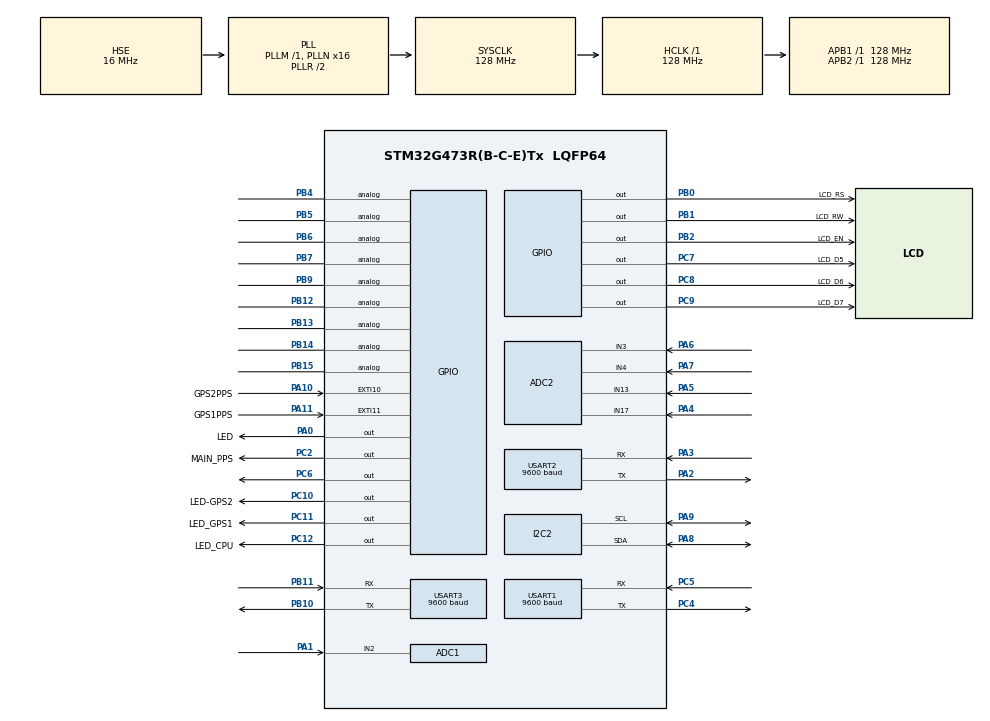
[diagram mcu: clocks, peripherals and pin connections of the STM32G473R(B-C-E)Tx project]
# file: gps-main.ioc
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ADC1.Channel-2\#ChannelRegularConversion=ADC_CHANNEL_2
ADC1.ClockPrescaler=ADC_CLOCK_ASYNC_DIV128
ADC1.ContinuousConvMode=ENABLE
ADC1.EnableRegularConversion=ENABLE
ADC1.NbrOfConversionFlag=1
ADC1.OffsetNumber-2\#ChannelRegularConversion=ADC_OFFSET_NONE
ADC1.Overrun=ADC_OVR_DATA_OVERWRITTEN
ADC1.Rank-2\#ChannelRegularConversion=1
ADC1.SamplingTime-2\#ChannelRegularConversion=ADC_SAMPLETIME_92CYCLES_5
ADC1.master=1
ADC2.Channel-1\#ChannelRegularConversion=ADC_CHANNEL_17
ADC2.Channel-2\#ChannelRegularConversion=ADC_CHANNEL_3
ADC2.Channel-3\#ChannelRegularConversion=ADC_CHANNEL_4
ADC2.Channel-4\#ChannelRegularConversion=ADC_CHANNEL_13
ADC2.ClockPrescaler=ADC_CLOCK_ASYNC_DIV128
ADC2.ContinuousConvMode=ENABLE
ADC2.EOCSelection=ADC_EOC_SEQ_CONV
ADC2.NbrOfConversion=4
ADC2.NbrOfConversionFlag=1
ADC2.OffsetNumber-1\#ChannelRegularConversion=ADC_OFFSET_NONE
ADC2.OffsetNumber-2\#ChannelRegularConversion=ADC_OFFSET_NONE
ADC2.OffsetNumber-3\#ChannelRegularConversion=ADC_OFFSET_NONE
ADC2.OffsetNumber-4\#ChannelRegularConversion=ADC_OFFSET_NONE
ADC2.Overrun=ADC_OVR_DATA_OVERWRITTEN
ADC2.Rank-1\#ChannelRegularConversion=1
ADC2.Rank-2\#ChannelRegularConversion=2
ADC2.Rank-3\#ChannelRegularConversion=3
ADC2.Rank-4\#ChannelRegularConversion=4
ADC2.SamplingTime-1\#ChannelRegularConversion=ADC_SAMPLETIME_2CYCLES_5
ADC2.SamplingTime-2\#ChannelRegularConversion=ADC_SAMPLETIME_2CYCLES_5
ADC2.SamplingTime-3\#ChannelRegularConversion=ADC_SAMPLETIME_2CYCLES_5
ADC2.SamplingTime-4\#ChannelRegularConversion=ADC_SAMPLETIME_2CYCLES_5
I2C2.Timing=0x20A0C4DF
Mcu.Family=STM32G4
Mcu.Name=STM32G473R(B-C-E)Tx
Mcu.Package=LQFP64
NVIC.ADC1_2_IRQn=true\:0\:0\:false\:false\:true\:true\:true\:true
NVIC.EXTI15_10_IRQn=true\:0\:0\:false\:false\:true\:true\:true\:true
NVIC.PriorityGroup=NVIC_PRIORITYGROUP_4
NVIC.TIM20_UP_IRQn=true\:0\:0\:false\:false\:true\:true\:true\:true
NVIC.TIM8_UP_IRQn=true\:0\:0\:false\:false\:true\:true\:true\:true
NVIC.USART1_IRQn=true\:0\:0\:false\:false\:true\:true\:true\:true
NVIC.USART2_IRQn=true\:0\:0\:false\:false\:true\:true\:true\:true
NVIC.USART3_IRQn=true\:0\:0\:false\:false\:true\:true\:true\:true
PA0.GPIO_Label=LED
PA0.Signal=GPIO_Output
PA1.Mode=IN2-Single-Ended
PA1.Signal=ADC1_IN2
PA10.GPIO_Label=GPS2PPS
PA10.Signal=GPXTI10
PA11.GPIO_Label=GPS1PPS
PA11.Signal=GPXTI11
PA13.Mode=Serial_Wire
PA13.Signal=SYS_JTMS-SWDIO
PA14.Mode=Serial_Wire
PA14.Signal=SYS_JTCK-SWCLK
PA2.GPIO_PuPd=GPIO_PULLUP
PA2.Mode=Asynchronous
PA2.Signal=USART2_TX
PA3.GPIO_PuPd=GPIO_PULLUP
PA3.Mode=Asynchronous
PA3.Signal=USART2_RX
PA4.Mode=IN17-Single-Ended
PA4.Signal=ADC2_IN17
PA5.Mode=IN13-Single-Ended
PA5.Signal=ADC2_IN13
PA6.Mode=IN3-Single-Ended
PA6.Signal=ADC2_IN3
PA7.Mode=IN4-Single-Ended
PA7.Signal=ADC2_IN4
PA8.GPIO_Pu=GPIO_PULLUP
PA8.Mode=I2C
PA8.Signal=I2C2_SDA
PA9.GPIO_Pu=GPIO_PULLUP
PA9.Mode=I2C
PA9.Signal=I2C2_SCL
PB0.GPIO_Label=LCD_RS
PB0.Signal=GPIO_Output
PB1.GPIO_Label=LCD_RW
PB1.Signal=GPIO_Output
PB10.GPIO_PuPd=GPIO_PULLUP
PB10.Mode=Asynchronous
PB10.Signal=USART3_TX
PB11.GPIO_PuPd=GPIO_PULLUP
PB11.Mode=Asynchronous
PB11.Signal=USART3_RX
PB12.Signal=GPIO_Analog
PB13.Signal=GPIO_Analog
PB14.Signal=GPIO_Analog
PB15.Signal=GPIO_Analog
PB2.GPIO_Label=LCD_EN
PB2.Signal=GPIO_Output
PB3.Signal=GPXTI3
PB4.Signal=GPIO_Analog
PB5.Signal=GPIO_Analog
PB6.Signal=GPIO_Analog
PB7.Signal=GPIO_Analog
PB9.Signal=GPIO_Analog
PC1.Signal=ADC2_IN7
PC10.GPIO_Label=LED-GPS2
PC10.Signal=GPIO_Output
PC11.GPIO_Label=LED_GPS1
PC11.Signal=GPIO_Output
PC12.GPIO_Label=LED_CPU
PC12.Signal=GPIO_Output
PC2.GPIO_Label=MAIN_PPS
PC2.Signal=GPIO_Output
PC4.GPIO_PuPd=GPIO_PULLUP
PC4.Mode=Asynchronous
PC4.Signal=USART1_TX
PC5.GPIO_PuPd=GPIO_PULLUP
PC5.Mode=Asynchronous
PC5.Signal=USART1_RX
PC6.Signal=GPIO_Output
PC7.GPIO_Label=LCD_D5
PC7.Signal=GPIO_Output
PC8.GPIO_Label=LCD_D6
PC8.Signal=GPIO_Output
PC9.GPIO_Label=LCD_D7
PC9.Signal=GPIO_Output
PF0-OSC_IN.Mode=HSE-External-Oscillator
PF0-OSC_IN.Signal=RCC_OSC_IN
PF1-OSC_OUT.Mode=HSE-External-Oscillator
PF1-OSC_OUT.Signal=RCC_OSC_OUT
ProjectManager.HeapSize=0x200
ProjectManager.StackSize=0x400
ProjectManager.TargetToolchain=MDK-ARM V5
RCC.ADC12Freq_Value=128000000
RCC.ADC345Freq_Value=128000000
RCC.AHBFreq_Value=128000000
RCC.APB1Freq_Value=128000000
RCC.APB1TimFreq_Value=128000000
RCC.APB2Freq_Value=128000000
RCC.APB2TimFreq_Value=128000000
RCC.CortexFreq_Value=128000000
RCC.EXTERNAL_CLOCK_VALUE=12288000
RCC.HCLKFreq_Value=128000000
RCC.HSE_VALUE=16000000
RCC.HSI48_VALUE=48000000
RCC.HSI_VALUE=16000000
RCC.LSE_VALUE=32768
RCC.PLLN=16
RCC.PLLSourceVirtual=RCC_PLLSOURCE_HSE
RCC.SYSCLKFreq_VALUE=128000000
RCC.SYSCLKSource=RCC_SYSCLKSOURCE_PLLCLK
RCC.USBFreq_Value=128000000
RCC.VCOOutputFreq_Value=256000000
TIM20.AutoReloadPreload=TIM_AUTORELOAD_PRELOAD_ENABLE
TIM20.PeriodNoDither=999
TIM20.Prescaler=128-1
TIM20.TIM_MasterOutputTrigger=TIM_TRGO_RESET
TIM20.TIM_MasterOutputTrigger2=TIM_TRGO2_RESET
TIM20.TIM_MasterSlaveMode=TIM_MASTERSLAVEMODE_DISABLE
TIM8.PeriodNoDither=9999
TIM8.Prescaler=1280-1
TIM8.TIM_MasterOutputTrigger=TIM_TRGO_ENABLE
USART1.BaudRate=9600
USART1.VirtualMode-Asynchronous=VM_ASYNC
USART2.BaudRate=9600
USART2.VirtualMode-Asynchronous=VM_ASYNC
USART3.BaudRate=9600
USART3.VirtualMode-Asynchronous=VM_ASYNC
VP_SYS_VS_DBSignals.Mode=DisableDeadBatterySignals
VP_TIM20_VS_ClockSourceINT.Mode=Internal
VP_TIM8_VS_ClockSourceINT.Mode=Internal
board=custom

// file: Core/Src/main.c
/* USER CODE BEGIN Header */
/**
  ******************************************************************************
  * @file           : main.c
  * @brief          : Main program body
  ******************************************************************************
  * @attention
  *
  * <h2><center>&copy; Copyright (c) 2022 STMicroelectronics.
  * All rights reserved.</center></h2>
  *
  * This software component is licensed by ST under BSD 3-Clause license,
  * the "License"; You may not use this file except in compliance with the
  * License. You may obtain a copy of the License at:
  *                        opensource.org/licenses/BSD-3-Clause
  *
  ******************************************************************************
  */
/* USER CODE END Header */
#include "main.h"

/* USER CODE BEGIN Includes */
#include <stdio.h>
#include <string.h>
#include "lcd.h"
#include "gps.h"
#include "storevalue.h"
/* USER CODE END Includes */

/* USER CODE BEGIN PTD */

uint32_t t,t1,t2,t3,t4;
/* USER CODE END PTD */

/* USER CODE BEGIN PD */
/* Definitions of environment analog values */
  /* Value of analog reference voltage (Vref+), connected to analog voltage   */
  /* supply Vdda (unit: mV).                                                  */
  #define VDDA_APPLI                       (3287U)
/* USER CODE END PD */

 ADC_HandleTypeDef hadc1;
ADC_HandleTypeDef hadc2;

I2C_HandleTypeDef hi2c2;

TIM_HandleTypeDef htim8;
TIM_HandleTypeDef htim20;

UART_HandleTypeDef huart1;
UART_HandleTypeDef huart2;
UART_HandleTypeDef huart3;

/* USER CODE BEGIN PV */
main_sst main_status;
extern GPS_t GPS;
uint8_t u1Timeout=0;
uint8_t u2Timeout=0;
uint8_t u3Timeout=0;
uint32_t tim20ct=0;
uint8_t pps_down;
uint8_t TimeMessage[20];
/* Buffer used for reception */
uint8_t Rx1Buffer[RX1BUFFERSIZE];
uint8_t Rx2Buffer[RX2BUFFERSIZE];
uint8_t Rx3Buffer[RX3BUFFERSIZE];
uint32_t u1_halt,u2_halt,u3_halt;
/* Variables for ADC conversion data computation to physical values */
__IO uint16_t uhADCxConvertedData_Voltage_mVolt = 0U;        /* Value of voltage on GPIO pin (on which is mapped ADC channel) calculated from ADC conversion data (unit: mV) */
uint8_t updateLCD = 1;
extern char ds3231_reg[7];
/* USER CODE END PV */

void SystemClock_Config(void);
static void MX_GPIO_Init(void);
static void MX_USART1_UART_Init(void);
static void MX_USART2_UART_Init(void);
static void MX_USART3_UART_Init(void);
static void MX_I2C2_Init(void);
static void MX_ADC2_Init(void);
static void MX_TIM20_Init(void);
static void MX_TIM8_Init(void);
static void MX_ADC1_Init(void);
/* USER CODE BEGIN PFP */
static uint32_t GetPage(uint32_t Address);
static uint32_t GetBank(uint32_t Address);
static void storeValue(void);
static void loadValue(void);

void scan_ADC(void);

void ADC_Select_CH3 (void)
{
	ADC_ChannelConfTypeDef sConfig = {0};
	  /** Configure for the selected ADC regular channel its corresponding rank in the sequencer and its sample time.
	  */
	  sConfig.Channel = ADC_CHANNEL_3;
	  sConfig.Rank = ADC_REGULAR_RANK_1;
		sConfig.SamplingTime = ADC_SAMPLETIME_92CYCLES_5;
		sConfig.SingleDiff = ADC_SINGLE_ENDED;
		sConfig.OffsetNumber = ADC_OFFSET_NONE;
		sConfig.Offset = 0;
		if (HAL_ADC_ConfigChannel(&hadc2, &sConfig) != HAL_OK)
		{
			Error_Handler();
		}
}

void ADC_Select_CH4 (void)
{
	ADC_ChannelConfTypeDef sConfig = {0};
	  /** Configure for the selected ADC regular channel its corresponding rank in the sequencer and its sample time.
	  */
	  sConfig.Channel = ADC_CHANNEL_4;
	  sConfig.Rank = ADC_REGULAR_RANK_1;
		sConfig.SamplingTime = ADC_SAMPLETIME_92CYCLES_5;
		sConfig.SingleDiff = ADC_SINGLE_ENDED;
		sConfig.OffsetNumber = ADC_OFFSET_NONE;
		sConfig.Offset = 0;
		if (HAL_ADC_ConfigChannel(&hadc2, &sConfig) != HAL_OK)
		{
			Error_Handler();
		}
}

void ADC_Select_CH13 (void)
{
	ADC_ChannelConfTypeDef sConfig = {0};

	sConfig.Channel = ADC_CHANNEL_13;
  sConfig.Rank = ADC_REGULAR_RANK_1;
  sConfig.SamplingTime = ADC_SAMPLETIME_92CYCLES_5;
  sConfig.SingleDiff = ADC_SINGLE_ENDED;
  sConfig.OffsetNumber = ADC_OFFSET_NONE;
  sConfig.Offset = 0;
  if (HAL_ADC_ConfigChannel(&hadc2, &sConfig) != HAL_OK)
  {
    Error_Handler();
  }
}

void ADC_Select_CH17 (void)
{
	ADC_ChannelConfTypeDef sConfig = {0};
	  /** Configure for the selected ADC regular channel its corresponding rank in the sequencer and its sample time.
	  */
	sConfig.Channel = ADC_CHANNEL_17;
  sConfig.Rank = ADC_REGULAR_RANK_1;
  sConfig.SamplingTime = ADC_SAMPLETIME_92CYCLES_5;
  sConfig.SingleDiff = ADC_SINGLE_ENDED;
  sConfig.OffsetNumber = ADC_OFFSET_NONE;
  sConfig.Offset = 0;
  if (HAL_ADC_ConfigChannel(&hadc2, &sConfig) != HAL_OK)
  {
    Error_Handler();
  }
}

/* USER CODE END PFP */

/* USER CODE BEGIN 0 */
GPSClock_t GPS_clock;
void check(uint8_t *gps)
{
	printf("%c",gps[0]);
	if(gps[0] =='G') printf("ok\r\n");
	else gps++;
	printf("%c",gps[0]);
}

/* USER CODE END 0 */

int main(void)
{
  /* USER CODE BEGIN 1 */
uint8_t test=0;
	uint32_t raw;
  /* USER CODE END 1 */

  /* MCU Configuration--------------------------------------------------------*/

  /* Reset of all peripherals, Initializes the Flash interface and the Systick. */
  HAL_Init();

  /* Configure the system clock */
  SystemClock_Config();

  /* Initialize all configured peripherals */
  MX_GPIO_Init();
  MX_USART1_UART_Init();
  MX_USART2_UART_Init();
  MX_USART3_UART_Init();
  MX_I2C2_Init();
  MX_ADC2_Init();
  MX_TIM20_Init();
  MX_TIM8_Init();
  MX_ADC1_Init();
  /* USER CODE BEGIN 2 */

  printf("This code gen by STMcube;STM32G473RBT@128MHz\r\n");
	HAL_Delay(100);
	LCD_Init();
	LCD_Clear();
	LCD_Gotoxy(0,0);
	LCD_Puts("GPS clock master");
	//LCD_Gotoxy(1,0);
	//LCD_Puts("GPS: ok.");
	//lcdprintf("IP: %s","192.168.22.153");
	//storeValue();
	//loadValue();
	HAL_Delay(1000);
	LCD_Clear();
	LCD_Gotoxy(0,0);

	laythoigian();
	/*
	ghids(14,0);//1HZ out SQW
	//ghids(DS_SECOND_REG,0);
	//ghids(DS_MIN_REG,05);
	//ghids(DS_HOUR_REG,11);
	//ghids(DS_DAY_REG,6);
	ghids(DS_DATE_REG,14);
	ghids(DS_MONTH_REG,6);
	ghids(DS_YEAR_REG,22);
	*/
	/*
	if (HAL_UART_Receive_IT(&huart2, (uint8_t *)aRxBuffer, RXBUFFERSIZE) != HAL_OK)
  {
    // Transfer error in reception process
    Error_Handler();
  }*/
	//GPS_Init();
	HAL_GPIO_WritePin(LED_GPS2_GPIO_Port, LED_GPS2_Pin, GPIO_PIN_SET);
	HAL_GPIO_WritePin(LED_GPS1_GPIO_Port, LED_GPS1_Pin, GPIO_PIN_SET);
	HAL_GPIO_WritePin(LED_CPU_GPIO_Port, LED_CPU_Pin, GPIO_PIN_SET);

	//uhADCxConvertedData_Voltage_mVolt = VAR_CONVERTED_DATA_INIT_VALUE;
	/* Run the ADC calibration in single-ended mode */
//  if (HAL_ADCEx_Calibration_Start(&hadc2, ADC_SINGLE_ENDED) != HAL_OK)
//  {
//    /* Calibration Error */
//    //Error_Handler();
//  }
	/*## Start ADC conversions ###############################################*/
  /* Start ADC group regular conversion with DMA */
//  if (HAL_ADC_Start_DMA(&hadc2,
//                        (uint32_t *)&uhADCxConvertedData_Voltage_mVolt,
//                        1
//                       ) != HAL_OK)
//  {
//    /* ADC conversion start error */
//    //Error_Handler();
//  }
	//printf("ADC PA1 %d; \r\n",uhADCxConvertedData_Voltage_mVolt);
	//HAL_ADC_Start(&hadc2);
	//uhADCxConvertedData_Voltage_mVolt = HAL_ADC_GetValue(&hadc2);
	//printf("ADC PA1 2%d; \r\n",uhADCxConvertedData_Voltage_mVolt);

	/* Start Timer trigger */
  //if (HAL_TIM_Base_Start(&htim20) != HAL_OK)
  //{
    /* Counter enable error */
    //Error_Handler();
  //}
//	if (HAL_TIM_Base_Start(&htim8) != HAL_OK)
//  {
//    /* Counter enable error */
//    Error_Handler();
//  }
	//HAL_Delay(100);
//	HAL_UART_Abort(&huart1);
//	if (HAL_UART_Receive_IT(&huart1, (uint8_t *)Rx1Buffer, RX1BUFFERSIZE) != HAL_OK)
//	{
//		/* Transfer error in reception process */
//		Error_Handler();
//	}
//	HAL_UART_Abort(&huart2);
//	if (HAL_UART_Receive_IT(&huart2, (uint8_t *)Rx2Buffer, RX2BUFFERSIZE) != HAL_OK)
//  {
//    /* Transfer error in reception process */
//    Error_Handler();
//  }

  LCD_Clear();
	LCD_Gotoxy(0,0);
	LCD_Puts("GPS1:");
	LCD_Gotoxy(0,20);
	LCD_Puts("RTC: ");
	LCD_Gotoxy(1,0);
	LCD_Puts("GPS2:");
	//LCD_Gotoxy(1,20);
	//LCD_Puts("IP: ");
	//Tim phuong an xu ly treo uart!!!
	HAL_UART_Abort(&huart3);
	if (HAL_UART_Receive_IT(&huart3, (uint8_t *)Rx3Buffer, RX3BUFFERSIZE) != HAL_OK)
		{
			/* Transfer error in reception process */
			Error_Handler();
		}
	HAL_TIM_Base_Start_IT(&htim20);
	//HAL_TIM_Base_Start_IT(&htim8);
  /* USER CODE END 2 */

  /* Infinite loop */
  /* USER CODE BEGIN WHILE */
	/* Run the ADC calibration in single-ended mode */
  if (HAL_ADCEx_Calibration_Start(&hadc1, ADC_SINGLE_ENDED) != HAL_OK)
  {
    /* Calibration Error */
    Error_Handler();
  }
	if (HAL_ADCEx_Calibration_Start(&hadc2, ADC_SINGLE_ENDED) != HAL_OK)
  {
    /* Calibration Error */
    Error_Handler();
  }
	GPS_clock.gps1_valid = 'x';
	GPS_clock.gps2_valid = 'x';
	//GPS_clock.gps1_time[6] = 0;
	//GPS_clock.gps2_time[6] = 0;
	HAL_UART_Abort(&huart1);
	HAL_UART_Receive_IT(&huart1, Rx1Buffer, RX1BUFFERSIZE);
	HAL_UART_Abort(&huart2);
	HAL_UART_Receive_IT(&huart2, Rx2Buffer, RX2BUFFERSIZE);
  fractionOfSecond = 0;
	GPS_clock.gps1_lock = 0;
	GPS_clock.gps2_lock = 0;
	GPS_clock.update_rtc = 100;
	TimeMessage[0] = '$';
	TimeMessage[1] = 'G';
	TimeMessage[2] = 'P';
	TimeMessage[3] = 'S';
	TimeMessage[4] = '0';
	TimeMessage[5] = '0';
	TimeMessage[6] = '0';
	TimeMessage[7] = '0';
	TimeMessage[8] = '0';
	TimeMessage[9] = '0';
	TimeMessage[10] = '0';
	TimeMessage[11] = '0';
	TimeMessage[12] = '0';
	TimeMessage[13] = '0';
	TimeMessage[14] = '0';
	TimeMessage[15] = '0';
	TimeMessage[16] = '0';
	TimeMessage[17] = '0';
	TimeMessage[18] = '0';
	TimeMessage[19] = '0';
	//Neu tin hieu ve tinh kem, thoi gian tu bo thu GPS se ko on dinh!!!
	u1_halt = 0;
	u2_halt = 0;
	u3_halt = 0;
	pps_down = 0;
	while (1)
  {
    /* USER CODE END WHILE */

    /* USER CODE BEGIN 3 */
		//t = fractionOfSecond;
		check_uart();
		//t1 = fractionOfSecond;
		if(updateLCD == 1)
		{
			updateLCD = 0;
			//Neu co GPS : update theo gps de ko bi tre hien thi so voi gps
			//Neu ko co GPS update the RTC
			sweep_LCD();
			HAL_GPIO_WritePin(LED_GPIO_Port, LED_Pin, GPIO_PIN_SET);
		}
		//t2 = fractionOfSecond;
		if(tim20ct > 990) {
			tim20ct = 0;
			scan_ADC();

			//printf("1S\r\n");
			//laythoigian();

			//Dem thoi gian ko hoat dong cua U1,U2,U3
			u1_halt++;
			u2_halt++;
			u3_halt++;
			if(pps_down < 3) pps_down++;
			if(pps_down > 2)
			{
				updateLCD =1;
				//Ko co pps thi coi nhu GPS1 chua lock
				GPS_clock.gps1_lock = 0;
			}

		}

		if(tim20ct < 100) {

			//HAL_GPIO_WritePin(LED_CPU_GPIO_Port, LED_CPU_Pin, GPIO_PIN_RESET);
			//HAL_GPIO_WritePin(LED_GPS1_GPIO_Port, LED_GPS1_Pin, GPIO_PIN_RESET);
			HAL_GPIO_WritePin(LED_GPS2_GPIO_Port, LED_GPS2_Pin, GPIO_PIN_RESET);
		}
		else
			{
				//HAL_GPIO_WritePin(LED_GPIO_Port, LED_Pin, GPIO_PIN_SET);
				//HAL_GPIO_WritePin(LED_CPU_GPIO_Port, LED_CPU_Pin, GPIO_PIN_SET);
				//HAL_GPIO_WritePin(LED_GPS1_GPIO_Port, LED_GPS1_Pin, GPIO_PIN_SET);
				HAL_GPIO_WritePin(LED_GPS2_GPIO_Port, LED_GPS2_Pin, GPIO_PIN_SET);
			}

  }
  /* USER CODE END 3 */
}

void SystemClock_Config(void)
{
  RCC_OscInitTypeDef RCC_OscInitStruct = {0};
  RCC_ClkInitTypeDef RCC_ClkInitStruct = {0};

  /** Configure the main internal regulator output voltage
  */
  HAL_PWREx_ControlVoltageScaling(PWR_REGULATOR_VOLTAGE_SCALE1);

  /** Initializes the RCC Oscillators according to the specified parameters
  * in the RCC_OscInitTypeDef structure.
  */
  RCC_OscInitStruct.OscillatorType = RCC_OSCILLATORTYPE_HSE;
  RCC_OscInitStruct.HSEState = RCC_HSE_ON;
  RCC_OscInitStruct.PLL.PLLState = RCC_PLL_ON;
  RCC_OscInitStruct.PLL.PLLSource = RCC_PLLSOURCE_HSE;
  RCC_OscInitStruct.PLL.PLLM = RCC_PLLM_DIV1;
  RCC_OscInitStruct.PLL.PLLN = 16;
  RCC_OscInitStruct.PLL.PLLP = RCC_PLLP_DIV2;
  RCC_OscInitStruct.PLL.PLLQ = RCC_PLLQ_DIV2;
  RCC_OscInitStruct.PLL.PLLR = RCC_PLLR_DIV2;
  if (HAL_RCC_OscConfig(&RCC_OscInitStruct) != HAL_OK)
  {
    Error_Handler();
  }

  /** Initializes the CPU, AHB and APB buses clocks
  */
  RCC_ClkInitStruct.ClockType = RCC_CLOCKTYPE_HCLK|RCC_CLOCKTYPE_SYSCLK
                              |RCC_CLOCKTYPE_PCLK1|RCC_CLOCKTYPE_PCLK2;
  RCC_ClkInitStruct.SYSCLKSource = RCC_SYSCLKSOURCE_PLLCLK;
  RCC_ClkInitStruct.AHBCLKDivider = RCC_SYSCLK_DIV1;
  RCC_ClkInitStruct.APB1CLKDivider = RCC_HCLK_DIV1;
  RCC_ClkInitStruct.APB2CLKDivider = RCC_HCLK_DIV1;

  if (HAL_RCC_ClockConfig(&RCC_ClkInitStruct, FLASH_LATENCY_3) != HAL_OK)
  {
    Error_Handler();
  }
}

static void MX_ADC1_Init(void)
{

  ADC_MultiModeTypeDef multimode = {0};
  ADC_ChannelConfTypeDef sConfig = {0};

  /** Common config
  */
  hadc1.Instance = ADC1;
  hadc1.Init.ClockPrescaler = ADC_CLOCK_ASYNC_DIV128;
  hadc1.Init.Resolution = ADC_RESOLUTION_12B;
  hadc1.Init.DataAlign = ADC_DATAALIGN_RIGHT;
  hadc1.Init.GainCompensation = 0;
  hadc1.Init.ScanConvMode = ADC_SCAN_DISABLE;
  hadc1.Init.EOCSelection = ADC_EOC_SINGLE_CONV;
  hadc1.Init.LowPowerAutoWait = DISABLE;
  hadc1.Init.ContinuousConvMode = ENABLE;
  hadc1.Init.NbrOfConversion = 1;
  hadc1.Init.DiscontinuousConvMode = DISABLE;
  hadc1.Init.ExternalTrigConv = ADC_SOFTWARE_START;
  hadc1.Init.ExternalTrigConvEdge = ADC_EXTERNALTRIGCONVEDGE_NONE;
  hadc1.Init.DMAContinuousRequests = DISABLE;
  hadc1.Init.Overrun = ADC_OVR_DATA_OVERWRITTEN;
  hadc1.Init.OversamplingMode = DISABLE;
  if (HAL_ADC_Init(&hadc1) != HAL_OK)
  {
    Error_Handler();
  }

  /** Configure the ADC multi-mode
  */
  multimode.Mode = ADC_MODE_INDEPENDENT;
  if (HAL_ADCEx_MultiModeConfigChannel(&hadc1, &multimode) != HAL_OK)
  {
    Error_Handler();
  }

  /** Configure Regular Channel
  */
  sConfig.Channel = ADC_CHANNEL_2;
  sConfig.Rank = ADC_REGULAR_RANK_1;
  sConfig.SamplingTime = ADC_SAMPLETIME_92CYCLES_5;
  sConfig.SingleDiff = ADC_SINGLE_ENDED;
  sConfig.OffsetNumber = ADC_OFFSET_NONE;
  sConfig.Offset = 0;
  if (HAL_ADC_ConfigChannel(&hadc1, &sConfig) != HAL_OK)
  {
    Error_Handler();
  }

}

static void MX_ADC2_Init(void)
{

  ADC_ChannelConfTypeDef sConfig = {0};

  /* USER CODE BEGIN ADC2_Init 1 */
//hadc2.Init.GainCompensation = VDDA_APPLI * GAIN_COMPENSATION_X1_FACTOR / DIGITAL_SCALE_12BITS;
  /* USER CODE END ADC2_Init 1 */

  /** Common config
  */
  hadc2.Instance = ADC2;
  hadc2.Init.ClockPrescaler = ADC_CLOCK_ASYNC_DIV128;
  hadc2.Init.Resolution = ADC_RESOLUTION_12B;
  hadc2.Init.DataAlign = ADC_DATAALIGN_RIGHT;
  hadc2.Init.GainCompensation = 0;
  hadc2.Init.ScanConvMode = ADC_SCAN_ENABLE;
  hadc2.Init.EOCSelection = ADC_EOC_SEQ_CONV;
  hadc2.Init.LowPowerAutoWait = DISABLE;
  hadc2.Init.ContinuousConvMode = ENABLE;
  hadc2.Init.NbrOfConversion = 4;
  hadc2.Init.DiscontinuousConvMode = DISABLE;
  hadc2.Init.ExternalTrigConv = ADC_SOFTWARE_START;
  hadc2.Init.ExternalTrigConvEdge = ADC_EXTERNALTRIGCONVEDGE_NONE;
  hadc2.Init.DMAContinuousRequests = DISABLE;
  hadc2.Init.Overrun = ADC_OVR_DATA_OVERWRITTEN;
  hadc2.Init.OversamplingMode = DISABLE;
  if (HAL_ADC_Init(&hadc2) != HAL_OK)
  {
    Error_Handler();
  }

  /** Configure Regular Channel
  */
  sConfig.Channel = ADC_CHANNEL_17;
  sConfig.Rank = ADC_REGULAR_RANK_1;
  sConfig.SamplingTime = ADC_SAMPLETIME_2CYCLES_5;
  sConfig.SingleDiff = ADC_SINGLE_ENDED;
  sConfig.OffsetNumber = ADC_OFFSET_NONE;
  sConfig.Offset = 0;
  if (HAL_ADC_ConfigChannel(&hadc2, &sConfig) != HAL_OK)
  {
    Error_Handler();
  }

  /** Configure Regular Channel
  */
  sConfig.Channel = ADC_CHANNEL_3;
  sConfig.Rank = ADC_REGULAR_RANK_2;
  if (HAL_ADC_ConfigChannel(&hadc2, &sConfig) != HAL_OK)
  {
    Error_Handler();
  }

  /** Configure Regular Channel
  */
  sConfig.Channel = ADC_CHANNEL_4;
  sConfig.Rank = ADC_REGULAR_RANK_3;
  if (HAL_ADC_ConfigChannel(&hadc2, &sConfig) != HAL_OK)
  {
    Error_Handler();
  }

  /** Configure Regular Channel
  */
  sConfig.Channel = ADC_CHANNEL_13;
  sConfig.Rank = ADC_REGULAR_RANK_4;
  if (HAL_ADC_ConfigChannel(&hadc2, &sConfig) != HAL_OK)
  {
    Error_Handler();
  }

}

static void MX_I2C2_Init(void)
{

  hi2c2.Instance = I2C2;
  hi2c2.Init.Timing = 0x20A0C4DF;
  hi2c2.Init.OwnAddress1 = 0;
  hi2c2.Init.AddressingMode = I2C_ADDRESSINGMODE_7BIT;
  hi2c2.Init.DualAddressMode = I2C_DUALADDRESS_DISABLE;
  hi2c2.Init.OwnAddress2 = 0;
  hi2c2.Init.OwnAddress2Masks = I2C_OA2_NOMASK;
  hi2c2.Init.GeneralCallMode = I2C_GENERALCALL_DISABLE;
  hi2c2.Init.NoStretchMode = I2C_NOSTRETCH_DISABLE;
  if (HAL_I2C_Init(&hi2c2) != HAL_OK)
  {
    Error_Handler();
  }

  /** Configure Analogue filter
  */
  if (HAL_I2CEx_ConfigAnalogFilter(&hi2c2, I2C_ANALOGFILTER_ENABLE) != HAL_OK)
  {
    Error_Handler();
  }

  /** Configure Digital filter
  */
  if (HAL_I2CEx_ConfigDigitalFilter(&hi2c2, 0) != HAL_OK)
  {
    Error_Handler();
  }

}

static void MX_TIM8_Init(void)
{

  TIM_ClockConfigTypeDef sClockSourceConfig = {0};
  TIM_MasterConfigTypeDef sMasterConfig = {0};

  htim8.Instance = TIM8;
  htim8.Init.Prescaler = 1280-1;
  htim8.Init.CounterMode = TIM_COUNTERMODE_UP;
  htim8.Init.Period = 9999;
  htim8.Init.ClockDivision = TIM_CLOCKDIVISION_DIV1;
  htim8.Init.RepetitionCounter = 0;
  htim8.Init.AutoReloadPreload = TIM_AUTORELOAD_PRELOAD_DISABLE;
  if (HAL_TIM_Base_Init(&htim8) != HAL_OK)
  {
    Error_Handler();
  }
  sClockSourceConfig.ClockSource = TIM_CLOCKSOURCE_INTERNAL;
  if (HAL_TIM_ConfigClockSource(&htim8, &sClockSourceConfig) != HAL_OK)
  {
    Error_Handler();
  }
  sMasterConfig.MasterOutputTrigger = TIM_TRGO_ENABLE;
  sMasterConfig.MasterOutputTrigger2 = TIM_TRGO2_RESET;
  sMasterConfig.MasterSlaveMode = TIM_MASTERSLAVEMODE_DISABLE;
  if (HAL_TIMEx_MasterConfigSynchronization(&htim8, &sMasterConfig) != HAL_OK)
  {
    Error_Handler();
  }

}

static void MX_TIM20_Init(void)
{

  TIM_ClockConfigTypeDef sClockSourceConfig = {0};
  TIM_MasterConfigTypeDef sMasterConfig = {0};

  htim20.Instance = TIM20;
  htim20.Init.Prescaler = 128-1;
  htim20.Init.CounterMode = TIM_COUNTERMODE_UP;
  htim20.Init.Period = 999;
  htim20.Init.ClockDivision = TIM_CLOCKDIVISION_DIV1;
  htim20.Init.RepetitionCounter = 0;
  htim20.Init.AutoReloadPreload = TIM_AUTORELOAD_PRELOAD_ENABLE;
  if (HAL_TIM_Base_Init(&htim20) != HAL_OK)
  {
    Error_Handler();
  }
  sClockSourceConfig.ClockSource = TIM_CLOCKSOURCE_INTERNAL;
  if (HAL_TIM_ConfigClockSource(&htim20, &sClockSourceConfig) != HAL_OK)
  {
    Error_Handler();
  }
  sMasterConfig.MasterOutputTrigger = TIM_TRGO_RESET;
  sMasterConfig.MasterOutputTrigger2 = TIM_TRGO2_RESET;
  sMasterConfig.MasterSlaveMode = TIM_MASTERSLAVEMODE_DISABLE;
  if (HAL_TIMEx_MasterConfigSynchronization(&htim20, &sMasterConfig) != HAL_OK)
  {
    Error_Handler();
  }

}

static void MX_USART1_UART_Init(void)
{

  huart1.Instance = USART1;
  huart1.Init.BaudRate = 9600;
  huart1.Init.WordLength = UART_WORDLENGTH_8B;
  huart1.Init.StopBits = UART_STOPBITS_1;
  huart1.Init.Parity = UART_PARITY_NONE;
  huart1.Init.Mode = UART_MODE_TX_RX;
  huart1.Init.HwFlowCtl = UART_HWCONTROL_NONE;
  huart1.Init.OverSampling = UART_OVERSAMPLING_16;
  huart1.Init.OneBitSampling = UART_ONE_BIT_SAMPLE_DISABLE;
  huart1.Init.ClockPrescaler = UART_PRESCALER_DIV1;
  huart1.AdvancedInit.AdvFeatureInit = UART_ADVFEATURE_NO_INIT;
  if (HAL_UART_Init(&huart1) != HAL_OK)
  {
    Error_Handler();
  }
  if (HAL_UARTEx_SetTxFifoThreshold(&huart1, UART_TXFIFO_THRESHOLD_1_8) != HAL_OK)
  {
    Error_Handler();
  }
  if (HAL_UARTEx_SetRxFifoThreshold(&huart1, UART_RXFIFO_THRESHOLD_1_8) != HAL_OK)
  {
    Error_Handler();
  }
  if (HAL_UARTEx_DisableFifoMode(&huart1) != HAL_OK)
  {
    Error_Handler();
  }

}

static void MX_USART2_UART_Init(void)
{

  huart2.Instance = USART2;
  huart2.Init.BaudRate = 9600;
  huart2.Init.WordLength = UART_WORDLENGTH_8B;
  huart2.Init.StopBits = UART_STOPBITS_1;
  huart2.Init.Parity = UART_PARITY_NONE;
  huart2.Init.Mode = UART_MODE_TX_RX;
  huart2.Init.HwFlowCtl = UART_HWCONTROL_NONE;
  huart2.Init.OverSampling = UART_OVERSAMPLING_16;
  huart2.Init.OneBitSampling = UART_ONE_BIT_SAMPLE_DISABLE;
  huart2.Init.ClockPrescaler = UART_PRESCALER_DIV1;
  huart2.AdvancedInit.AdvFeatureInit = UART_ADVFEATURE_NO_INIT;
  if (HAL_UART_Init(&huart2) != HAL_OK)
  {
    Error_Handler();
  }
  if (HAL_UARTEx_SetTxFifoThreshold(&huart2, UART_TXFIFO_THRESHOLD_1_8) != HAL_OK)
  {
    Error_Handler();
  }
  if (HAL_UARTEx_SetRxFifoThreshold(&huart2, UART_RXFIFO_THRESHOLD_1_8) != HAL_OK)
  {
    Error_Handler();
  }
  if (HAL_UARTEx_DisableFifoMode(&huart2) != HAL_OK)
  {
    Error_Handler();
  }

}

static void MX_USART3_UART_Init(void)
{

  huart3.Instance = USART3;
  huart3.Init.BaudRate = 9600;
  huart3.Init.WordLength = UART_WORDLENGTH_8B;
  huart3.Init.StopBits = UART_STOPBITS_1;
  huart3.Init.Parity = UART_PARITY_NONE;
  huart3.Init.Mode = UART_MODE_TX_RX;
  huart3.Init.HwFlowCtl = UART_HWCONTROL_NONE;
  huart3.Init.OverSampling = UART_OVERSAMPLING_16;
  huart3.Init.OneBitSampling = UART_ONE_BIT_SAMPLE_DISABLE;
  huart3.Init.ClockPrescaler = UART_PRESCALER_DIV1;
  huart3.AdvancedInit.AdvFeatureInit = UART_ADVFEATURE_NO_INIT;
  if (HAL_UART_Init(&huart3) != HAL_OK)
  {
    Error_Handler();
  }
  if (HAL_UARTEx_SetTxFifoThreshold(&huart3, UART_TXFIFO_THRESHOLD_1_8) != HAL_OK)
  {
    Error_Handler();
  }
  if (HAL_UARTEx_SetRxFifoThreshold(&huart3, UART_RXFIFO_THRESHOLD_1_8) != HAL_OK)
  {
    Error_Handler();
  }
  if (HAL_UARTEx_DisableFifoMode(&huart3) != HAL_OK)
  {
    Error_Handler();
  }

}

static void MX_GPIO_Init(void)
{
  GPIO_InitTypeDef GPIO_InitStruct = {0};

  /* GPIO Ports Clock Enable */
  __HAL_RCC_GPIOF_CLK_ENABLE();
  __HAL_RCC_GPIOC_CLK_ENABLE();
  __HAL_RCC_GPIOA_CLK_ENABLE();
  __HAL_RCC_GPIOB_CLK_ENABLE();

  /*Configure GPIO pin Output Level */
  HAL_GPIO_WritePin(GPIOC, MAIN_PPS_Pin|GPIO_PIN_6|LCD_D5_Pin|LCD_D6_Pin
                          |LCD_D7_Pin|LED_GPS2_Pin|LED_GPS1_Pin|LED_CPU_Pin, GPIO_PIN_RESET);

  /*Configure GPIO pin Output Level */
  HAL_GPIO_WritePin(LED_GPIO_Port, LED_Pin, GPIO_PIN_RESET);

  /*Configure GPIO pin Output Level */
  HAL_GPIO_WritePin(GPIOB, LCD_RS_Pin|LCD_RW_Pin|LCD_EN_Pin, GPIO_PIN_RESET);

  /*Configure GPIO pins : MAIN_PPS_Pin PC6 LCD_D5_Pin LCD_D6_Pin
                           LCD_D7_Pin LED_GPS2_Pin LED_GPS1_Pin LED_CPU_Pin */
  GPIO_InitStruct.Pin = MAIN_PPS_Pin|GPIO_PIN_6|LCD_D5_Pin|LCD_D6_Pin
                          |LCD_D7_Pin|LED_GPS2_Pin|LED_GPS1_Pin|LED_CPU_Pin;
  GPIO_InitStruct.Mode = GPIO_MODE_OUTPUT_PP;
  GPIO_InitStruct.Pull = GPIO_NOPULL;
  GPIO_InitStruct.Speed = GPIO_SPEED_FREQ_LOW;
  HAL_GPIO_Init(GPIOC, &GPIO_InitStruct);

  /*Configure GPIO pin : LED_Pin */
  GPIO_InitStruct.Pin = LED_Pin;
  GPIO_InitStruct.Mode = GPIO_MODE_OUTPUT_PP;
  GPIO_InitStruct.Pull = GPIO_NOPULL;
  GPIO_InitStruct.Speed = GPIO_SPEED_FREQ_LOW;
  HAL_GPIO_Init(LED_GPIO_Port, &GPIO_InitStruct);

  /*Configure GPIO pins : LCD_RS_Pin LCD_RW_Pin LCD_EN_Pin */
  GPIO_InitStruct.Pin = LCD_RS_Pin|LCD_RW_Pin|LCD_EN_Pin;
  GPIO_InitStruct.Mode = GPIO_MODE_OUTPUT_PP;
  GPIO_InitStruct.Pull = GPIO_NOPULL;
  GPIO_InitStruct.Speed = GPIO_SPEED_FREQ_LOW;
  HAL_GPIO_Init(GPIOB, &GPIO_InitStruct);

  /*Configure GPIO pins : PB12 PB13 PB14 PB15
                           PB4 PB5 PB6 PB7
                           PB9 */
  GPIO_InitStruct.Pin = GPIO_PIN_12|GPIO_PIN_13|GPIO_PIN_14|GPIO_PIN_15
                          |GPIO_PIN_4|GPIO_PIN_5|GPIO_PIN_6|GPIO_PIN_7
                          |GPIO_PIN_9;
  GPIO_InitStruct.Mode = GPIO_MODE_ANALOG;
  GPIO_InitStruct.Pull = GPIO_NOPULL;
  HAL_GPIO_Init(GPIOB, &GPIO_InitStruct);

  /*Configure GPIO pins : GPS2PPS_Pin GPS1PPS_Pin */
  GPIO_InitStruct.Pin = GPS2PPS_Pin|GPS1PPS_Pin;
  GPIO_InitStruct.Mode = GPIO_MODE_IT_RISING;
  GPIO_InitStruct.Pull = GPIO_NOPULL;
  HAL_GPIO_Init(GPIOA, &GPIO_InitStruct);

  /*Configure GPIO pin : PB3 */
  GPIO_InitStruct.Pin = GPIO_PIN_3;
  GPIO_InitStruct.Mode = GPIO_MODE_IT_RISING;
  GPIO_InitStruct.Pull = GPIO_NOPULL;
  HAL_GPIO_Init(GPIOB, &GPIO_InitStruct);

  /* EXTI interrupt init*/
  HAL_NVIC_SetPriority(EXTI15_10_IRQn, 0, 0);
  HAL_NVIC_EnableIRQ(EXTI15_10_IRQn);

}

/* USER CODE BEGIN 4 */

/**
  * @brief EXTI line detection callbacks
  * @param GPIO_Pin: Specifies the pins connected EXTI line
	* Neu co GPS, se co xung PPS tai thoi diem bat dau moi giay
  * If GPS avaiable, PPS pulse start at the start of a second
  * @retval None
  */
void HAL_GPIO_EXTI_Callback(uint16_t GPIO_Pin)
{
  //Dong bo xung PPS GPS
	//Uu tien GPS1: neu cС pps thi lay cua GPS1 truoc
	//Neu GPS1 ko co PPS thi moi lay PPS cua GPS2
	if (GPIO_Pin == GPS1PPS_Pin)
  {
		//t = fractionOfSecond;
		//fractionOfSecond = 0;
		HAL_GPIO_WritePin(LED_GPIO_Port, LED_Pin, GPIO_PIN_RESET);
		HAL_GPIO_WritePin(MAIN_PPS_GPIO_Port, MAIN_PPS_Pin, GPIO_PIN_SET);
		//day la thoi diem bat dau cua giay ( start of second)
		// - cap nhat LCD
		// - cap nhat thoi gian
		// - gui ban tin toi mach giao tiep
		//GPS_clock.gps1_lock = 0
		if(GPS_clock.update_rtc > 1) GPS_clock.update_rtc --;
		if(GPS_clock.gps1_lock == 1)
		{
			if(GPS_clock.update_rtc == 1)//luu thoi gian vao rtc
			{
				GPS_clock.update_rtc = 100;

				ghids(14,0);//1HZ out SQW
				ghids(DS_SECOND_REG,seconds);
				ghids(DS_MIN_REG,minutes);
				ghids(DS_HOUR_REG,hours);

				ghids(DS_DATE_REG,days);
				ghids(DS_MONTH_REG,months);
				ghids(DS_YEAR_REG,years);
			}
			//Gui thoi gian den mach giao tiep
			HAL_UART_Transmit(&huart3, TimeMessage, 20, 100);
		}

		updateLCD =1;
		pps_down = 0;
		//printf("GPS1PPS\r\n");
  }
	else if (GPIO_Pin == GPS2PPS_Pin)
  {
		HAL_GPIO_WritePin(MAIN_PPS_GPIO_Port, MAIN_PPS_Pin, GPIO_PIN_SET);
		//printf("GPS2PPS\r\n");
  }
}

void scan_ADC(void)
	{
		uint32_t raw;

			HAL_ADC_Start(&hadc1);
			HAL_ADC_PollForConversion(&hadc1, 100);
			raw = HAL_ADC_GetValue(&hadc1);
			HAL_ADC_Stop(&hadc1);
			// Convert to string and print
			//printf("PA1-ADC1-IN2 :%d\r\n", raw);
		//Tinh toan dien ap 12V
			main_status.v12V = (uint16_t)(k12v * (float)raw);
			//printf("Den ap 12V: %2.1f\r\n", (float)(main_status.v12V)/10.0);

			ADC_Select_CH17();
		HAL_ADC_Start(&hadc2);
		HAL_ADC_PollForConversion(&hadc2, 200);
		raw = HAL_ADC_GetValue(&hadc2);
		HAL_ADC_Stop(&hadc2);
		// Convert to string and print
		//printf("PA4-ADC2-IN17 :%d\r\n", raw);

		ADC_Select_CH13();
		HAL_ADC_Start(&hadc2);
		HAL_ADC_PollForConversion(&hadc2, 200);
		raw = HAL_ADC_GetValue(&hadc2);
		HAL_ADC_Stop(&hadc2);
		// Convert to string and print
		//printf("PA5-ADC2-IN13 :%d\r\n", raw);

		ADC_Select_CH3();
		HAL_ADC_Start(&hadc2);
		HAL_ADC_PollForConversion(&hadc2, 200);
		raw = HAL_ADC_GetValue(&hadc2);
		HAL_ADC_Stop(&hadc2);
		// Convert to string and print
		//printf("PA6-ADC2-IN3 :%d\r\n", raw);

		ADC_Select_CH4();
		HAL_ADC_Start(&hadc2);
		HAL_ADC_PollForConversion(&hadc2, 200);
		raw = HAL_ADC_GetValue(&hadc2);
		HAL_ADC_Stop(&hadc2);
		// Convert to string and print
		//printf("PA7-ADC2-IN4 :%d\r\n", raw);
	}
#ifdef __GNUC__
  /* With GCC/RAISONANCE, small printf (option LD Linker->Libraries->Small printf
     set to 'Yes') calls __io_putchar() */
  #define PUTCHAR_PROTOTYPE int __io_putchar(int ch)
#else
  #define PUTCHAR_PROTOTYPE int fputc(int ch, FILE *f)
#endif /* __GNUC__ */

/**
  * @brief  Retargets the C library printf function to the USART.
  * @param  None
  * @retval None
  */
PUTCHAR_PROTOTYPE
{
	/* Place your implementation of fputc here */
	/* e.g. write a character to the USART */
	HAL_UART_Transmit(&huart3, (uint8_t *)&ch, 1, 100);
	return ch;
}
//khi nao buffer full thi no se goi ham nay
void HAL_UART_RxCpltCallback(UART_HandleTypeDef *UartHandle)
{

    if(UartHandle == &huart3)
			{

				//printf("buffer full!\r\n");
				HAL_UART_Receive_IT(&huart3, (uint8_t *)Rx3Buffer, RX3BUFFERSIZE);
				//printf("U3 %s; \r\n",Rx3Buffer);
				huart3.pRxBuffPtr = (uint8_t *)Rx3Buffer;
				huart3.RxXferCount = RX3BUFFERSIZE;
				memset(Rx3Buffer,0,RX3BUFFERSIZE);
			}
			if(UartHandle == &huart1)
			{
				//GPS_UART_CallBack();
				HAL_UART_Abort(GPS1_USART);
				HAL_UART_Receive_IT(&huart1, Rx1Buffer, RX1BUFFERSIZE);
			}
			if(UartHandle == &huart1)
			{
				//GPS2_UART_CallBack();
			}

}

void HAL_UART_ErrorCallback(UART_HandleTypeDef *UartHandle)
	{
		if(UartHandle == &huart3)
			{
				printf("HAL_UART_ErrorCallback!\r\n");
				HAL_UART_Abort(&huart3);
				HAL_UART_Receive_IT(&huart3, (uint8_t *)Rx3Buffer, RX3BUFFERSIZE);
			}
	}
static void loadValue(void)
{
	__IO uint32_t MemoryProgramStatus = 0;
	__IO uint32_t data32 = 0;
	uint32_t Address = 0;
	/* Check if the programmed data is OK
      MemoryProgramStatus = 0: data programmed correctly
      MemoryProgramStatus != 0: number of words not programmed correctly ******/

  MemoryProgramStatus = 0x0;

    data32 = *(__IO uint32_t *)FLASH_USER_START_ADDR;

    if (data32 != DATA_32)
    {
      MemoryProgramStatus++;
    }

	/*Check if there is an issue to program data*/
  if (MemoryProgramStatus == 0)
  {
    /* No error detected. Switch on LED1*/
    //BSP_LED_On(LED1);
		printf("Memory is ok\r\n");
  }
  else
  {
    /* Error detected. Switch on LED3*/
    //BSP_LED_On(LED3);
		printf("Error detected \r\n");
		return;
  }

	data32 = *(__IO uint32_t *)(FLASH_USER_START_ADDR+4);
	//printf("first data32 %x\r\n",data32);

	//gWIZNETINFO.ip[3] = (uint8_t)data32;
	//gWIZNETINFO.ip[2] = (uint8_t)(data32>>8);
	//gWIZNETINFO.ip[1] = (uint8_t)(data32>>16);
	//gWIZNETINFO.ip[0] = (uint8_t)(data32>>24);
	//printf("Load IP: %d.%d.%d.%d\r\n",gWIZNETINFO.ip[0],gWIZNETINFO.ip[1],gWIZNETINFO.ip[2],gWIZNETINFO.ip[3]);

	data32 = *(__IO uint32_t *)(FLASH_USER_START_ADDR+8);
	printf("last data32 %x\r\n",data32);
		data32 = *(__IO uint32_t *)(FLASH_USER_START_ADDR+12);
	printf("first data32 %x\r\n",data32);
	data32 = *(__IO uint32_t *)(FLASH_USER_START_ADDR+16);
	printf("last data32 %x\r\n",data32);
		data32 = *(__IO uint32_t *)(FLASH_USER_START_ADDR+20);
	printf("first data32 %x\r\n",data32);
}

static void storeValue(void)
{
	uint32_t FirstPage = 0, NbOfPages = 0, BankNumber = 0,PageError = 0;
	static FLASH_EraseInitTypeDef EraseInitStruct;
	uint64_t temp;
	/* Unlock the Flash to enable the flash control register access *************/
  HAL_FLASH_Unlock();
	/* Clear OPTVERR bit set on virgin samples */
  __HAL_FLASH_CLEAR_FLAG(FLASH_FLAG_OPTVERR);
	/* Erase the user Flash area
    (area defined by FLASH_USER_START_ADDR and FLASH_USER_END_ADDR) ***********/

  /* Get the 1st page to erase */
  FirstPage = GetPage(FLASH_USER_START_ADDR);

  /* Get the number of pages to erase from 1st page */
  NbOfPages = GetPage(FLASH_USER_END_ADDR) - FirstPage + 1;

  /* Get the bank */
  BankNumber = GetBank(FLASH_USER_START_ADDR);

  /* Fill EraseInit structure*/
  EraseInitStruct.TypeErase   = FLASH_TYPEERASE_PAGES;
  EraseInitStruct.Banks       = BankNumber;
  EraseInitStruct.Page        = FirstPage;
  EraseInitStruct.NbPages     = NbOfPages;

	if (HAL_FLASHEx_Erase(&EraseInitStruct, &PageError) != HAL_OK)
  {
    /*
      Error occurred while page erase.
      User can add here some code to deal with this error.
      PageError will contain the faulty page and then to know the code error on this page,
      user can call function 'HAL_FLASH_GetError()'
    */
		printf("Error occurred while page erase.\r\n");

  }

	/* Program the user Flash area word by word
    (area defined by FLASH_USER_START_ADDR and FLASH_USER_END_ADDR) ***********/

	//temp = DATA_32;
	//temp = temp<<32;
	temp  = 0;
	//temp |= (gWIZNETINFO.ip[0] <<24) |(gWIZNETINFO.ip[1] <<16)|(gWIZNETINFO.ip[2] <<8)|gWIZNETINFO.ip[3];
  //printf("temp : %x\r\n",(gWIZNETINFO.ip[0] <<24) +(gWIZNETINFO.ip[1] <<16)+(gWIZNETINFO.ip[2] <<8)+gWIZNETINFO.ip[3]);
	temp = DATA_32 | (temp<<32);
    if (HAL_FLASH_Program(FLASH_TYPEPROGRAM_DOUBLEWORD, FLASH_USER_START_ADDR, temp) == HAL_OK)
    {
			printf("Saved!\r\n");
    }
   else
    {
      /* Error occurred while writing data in Flash memory.
         User can add here some code to deal with this error */
			printf("Error occurred while writing data in Flash memory\r\n");

    }

		temp  = 0xFFFFFF01C0A816FC;//sn|fw
		//temp |= (gWIZNETINFO.ip[0] <<24) |(gWIZNETINFO.ip[1] <<16)|(gWIZNETINFO.ip[2] <<8)|gWIZNETINFO.ip[3];
		//printf("temp : %x\r\n",(gWIZNETINFO.ip[0] <<24) +(gWIZNETINFO.ip[1] <<16)+(gWIZNETINFO.ip[2] <<8)+gWIZNETINFO.ip[3]);

		if (HAL_FLASH_Program(FLASH_TYPEPROGRAM_DOUBLEWORD, (FLASH_USER_START_ADDR+8), temp) == HAL_OK)
    {
			printf("Saved!\r\n");
    }
   else
    {
      /* Error occurred while writing data in Flash memory.
         User can add here some code to deal with this error */
			printf("Error occurred while writing data in Flash memory\r\n");

    }

		temp  = 0x0808080801020304;//sn|fw
		//temp |= (gWIZNETINFO.ip[0] <<24) |(gWIZNETINFO.ip[1] <<16)|(gWIZNETINFO.ip[2] <<8)|gWIZNETINFO.ip[3];
		//printf("temp : %x\r\n",(gWIZNETINFO.ip[0] <<24) +(gWIZNETINFO.ip[1] <<16)+(gWIZNETINFO.ip[2] <<8)+gWIZNETINFO.ip[3]);

		if (HAL_FLASH_Program(FLASH_TYPEPROGRAM_DOUBLEWORD, (FLASH_USER_START_ADDR+16), temp) == HAL_OK)
    {
			printf("Saved!\r\n");
    }
   else
    {
      /* Error occurred while writing data in Flash memory.
         User can add here some code to deal with this error */
			printf("Error occurred while writing data in Flash memory\r\n");

    }

	/* Lock the Flash to disable the flash control register access (recommended
     to protect the FLASH memory against possible unwanted operation) *********/
  HAL_FLASH_Lock();
}
/**
  * @brief  Gets the page of a given address
  * @param  Addr: Address of the FLASH Memory
  * @retval The page of a given address
  */
static uint32_t GetPage(uint32_t Addr)
{
  uint32_t page = 0;

  if (Addr < (FLASH_BASE + FLASH_BANK_SIZE))
  {
    /* Bank 1 */
    page = (Addr - FLASH_BASE) / FLASH_PAGE_SIZE;
  }
  else
  {
    /* Bank 2 */
    page = (Addr - (FLASH_BASE + FLASH_BANK_SIZE)) / FLASH_PAGE_SIZE;
  }

  return page;
}

/**
  * @brief  Gets the bank of a given address
  * @param  Addr: Address of the FLASH Memory
  * @retval The bank of a given address
  */
static uint32_t GetBank(uint32_t Addr)
{
  return FLASH_BANK_1;
}
/* USER CODE END 4 */

void Error_Handler(void)
{
  /* USER CODE BEGIN Error_Handler_Debug */
  /* User can add his own implementation to report the HAL error return state */
	//printf("Error_Handler");
  __disable_irq();
  while (1)
  {
  }
  /* USER CODE END Error_Handler_Debug */
}
